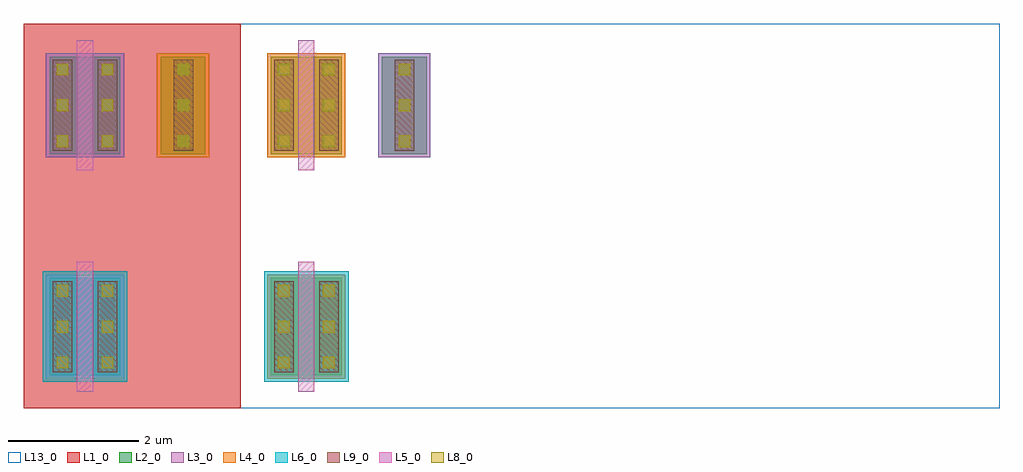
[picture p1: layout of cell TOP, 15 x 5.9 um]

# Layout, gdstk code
import gdstk
lib = gdstk.Library(unit=1e-6, precision=1e-09)
def R(c, l, rs):  # rectangles x0, y0, x1, y1
    for r in rs: c.add(gdstk.rectangle(r[:2], r[2:], *l))
def A(c, l, x, y, w, h, nx, ny, dx, dy):  # array of equal rectangles
    R(c, l, [(x+i*dx, y+j*dy, x+i*dx+w, y+j*dy+h) for i in range(nx) for j in range(ny)])
L1_0 = (1, 0)
L2_0 = (2, 0)
L3_0 = (3, 0)
L4_0 = (4, 0)
L5_0 = (5, 0)
L6_0 = (6, 0)
L8_0 = (8, 0)
L9_0 = (9, 0)
L13_0 = (13, 0)

lvnmos = lib.new_cell('LVNMOS')
R(lvnmos, L2_0, [(0.055,0.25,1.145,1.75)])
R(lvnmos, L4_0, [(0,0.2,1.2,1.8)])
R(lvnmos, L5_0, [(0.475,0,0.725,2)])
A(lvnmos, L8_0, 0.165, 0.36, 0.18, 0.18, 1, 3, 0, 0.55)
A(lvnmos, L8_0, 0.855, 0.36, 0.18, 0.18, 1, 3, 0, 0.55)
R(lvnmos, L9_0, [(0.105,0.3,0.405,1.7), (0.795,0.3,1.095,1.7)])

hvnmos = lib.new_cell('HVNMOS')
R(hvnmos, L2_0, [(0.105,0.25,1.195,1.75)])
R(hvnmos, L4_0, [(0.05,0.2,1.25,1.8)])
R(hvnmos, L5_0, [(0.525,0,0.775,2)])
R(hvnmos, L6_0, [(0,0.15,1.3,1.85)])
A(hvnmos, L8_0, 0.215, 0.36, 0.18, 0.18, 1, 3, 0, 0.55)
A(hvnmos, L8_0, 0.905, 0.36, 0.18, 0.18, 1, 3, 0, 0.55)
R(hvnmos, L9_0, [(0.155,0.3,0.455,1.7), (0.845,0.3,1.145,1.7)])

lvpmos = lib.new_cell('LVPMOS')
R(lvpmos, L2_0, [(0.055,0.25,1.145,1.75), (0.055,0.25,1.145,1.75)])
R(lvpmos, L3_0, [(0,0.2,1.2,1.8), (0,0.2,1.2,1.8)])
R(lvpmos, L5_0, [(0.475,0,0.725,2), (0.475,0,0.725,2)])
R(lvpmos, L8_0, [(0.165,0.36,0.345,0.54), (0.165,0.36,0.345,0.54), (0.855,0.36,1.035,0.54), (0.855,0.36,1.035,0.54), (0.165,0.91,0.345,1.09), (0.165,0.91,0.345,1.09), (0.855,0.91,1.035,1.09), (0.855,0.91,1.035,1.09), (0.165,1.46,0.345,1.64), (0.165,1.46,0.345,1.64), (0.855,1.46,1.035,1.64), (0.855,1.46,1.035,1.64)])
R(lvpmos, L9_0, [(0.105,0.3,0.405,1.7), (0.795,0.3,1.095,1.7)])

hvpmos = lib.new_cell('HVPMOS')
R(hvpmos, L2_0, [(0.105,0.25,1.195,1.75), (0.105,0.25,1.195,1.75)])
R(hvpmos, L3_0, [(0.05,0.2,1.25,1.8), (0.05,0.2,1.25,1.8)])
R(hvpmos, L5_0, [(0.525,0,0.775,2), (0.525,0,0.775,2)])
R(hvpmos, L6_0, [(0,0.15,1.3,1.85)])
R(hvpmos, L8_0, [(0.215,0.36,0.395,0.54), (0.215,0.36,0.395,0.54), (0.905,0.36,1.085,0.54), (0.905,0.36,1.085,0.54), (0.215,0.91,0.395,1.09), (0.215,0.91,0.395,1.09), (0.905,0.91,1.085,1.09), (0.905,0.91,1.085,1.09), (0.215,1.46,0.395,1.64), (0.215,1.46,0.395,1.64), (0.905,1.46,1.085,1.64), (0.905,1.46,1.085,1.64)])
R(hvpmos, L9_0, [(0.155,0.3,0.455,1.7), (0.845,0.3,1.145,1.7)])

ntie = lib.new_cell('NTIE')
R(ntie, L2_0, [(0.055,0.05,0.745,1.55)])
R(ntie, L4_0, [(0,0,0.8,1.6)])
A(ntie, L8_0, 0.315, 0.16, 0.18, 0.18, 1, 3, 0, 0.55)
R(ntie, L9_0, [(0.255,0.1,0.555,1.5)])

ptie = lib.new_cell('PTIE')
R(ptie, L2_0, [(0.055,0.05,0.745,1.55)])
R(ptie, L3_0, [(0,0,0.8,1.6)])
A(ptie, L8_0, 0.315, 0.16, 0.18, 0.18, 1, 3, 0, 0.55)
R(ptie, L9_0, [(0.255,0.1,0.555,1.5)])

top = lib.new_cell('TOP')
R(top, L1_0, [(0,0,3.34,2.5), (0,2.5,3.34,3.4), (0,3.4,3.34,5.9)])
R(top, L13_0, [(0,0,14.995,5.9)])
top.add(gdstk.Reference(lvnmos, (3.745,3.65)))
top.add(gdstk.Reference(hvnmos, (3.695,0.25)))
top.add(gdstk.Reference(lvpmos, (0.345,3.65)))
top.add(gdstk.Reference(hvpmos, (0.295,0.25)))
top.add(gdstk.Reference(ntie, (2.05,3.85)))
top.add(gdstk.Reference(ptie, (5.45,3.85)))

lib.write_gds('TOP.gds')
